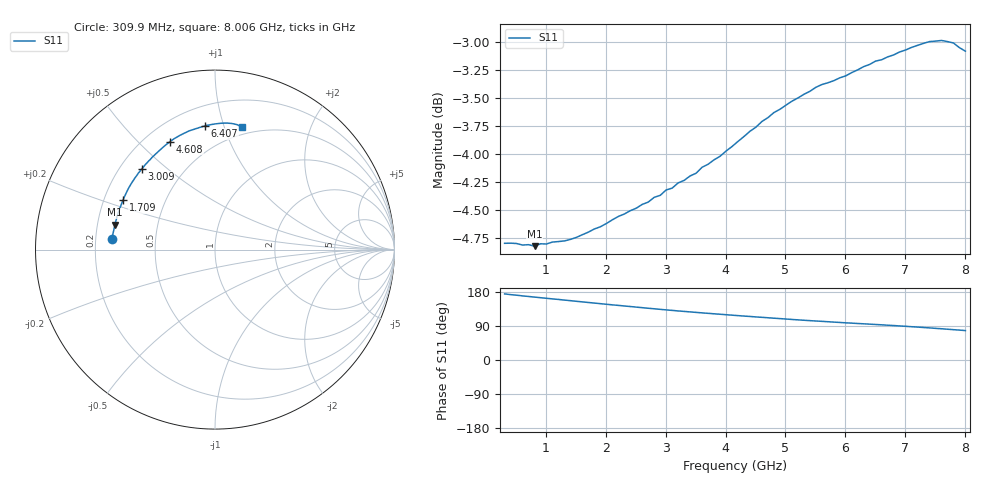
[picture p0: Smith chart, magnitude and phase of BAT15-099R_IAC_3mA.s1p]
! Infineon Technologies  Discrete & RF Semiconductors
! BAT15-099R
! IAC = 3 mA
! One-Port S-Parameters
# Hz  S  MA  R  50
!f  S11
!Hz  Mag  Ang
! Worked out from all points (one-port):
!   78 points, 309.9 MHz to 8.006 GHz, reference 50 ohm
!   lowest |S11| = -4.8 dB at 809.6 MHz (marker M1), VSWR 3.69, Z = 13.7 + j5.67 ohm
!   |S11| at or under -10 dB: nowhere
!   S11 on the Smith chart (normalised r, x): 309.9 MHz: 0.27, +0.05; 1.709 GHz: 0.28, +0.23; 3.009 GHz: 0.29, +0.41; 4.608 GHz: 0.30, +0.63; 6.407 GHz: 0.33, +0.87; 8.006 GHz: 0.43, +1.15
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3.0985e8  0.5753 174.4
4.098e8  0.5754 172.5
7.0965e8  0.5745 167.7
8.096e8  0.5736 166.0
1.10945e9  0.5761 161.2
1.2094e9  0.5764 159.8
1.30935e9  0.5767 158.1
1.70915e9  0.582 151.8
2.10895e9  0.5894 145.5
2.30885e9  0.5929 142.5
2.6087e9  0.5988 138.1
3.0085e9  0.6078 132.2
3.2084e9  0.6122 129.5
3.6082e9  0.6221 124.3
4.2079e9  0.6389 117.1
4.6077e9  0.6521 112.6
4.8076e9  0.6581 110.3
5.2074e9  0.6681 105.9
5.6072e9  0.6774 102.0
6.007e9  0.6835 98.1
6.10695e9  0.6857 97.3
6.4068e9  0.6915 94.6
6.8066e9  0.6983 91.0
7.10645e9  0.7037 87.8
7.4063e9  0.708 84.7
7.6062e9  0.7088 82.5
7.8061e9  0.707 80.0
8.006e9  0.701 77.7
